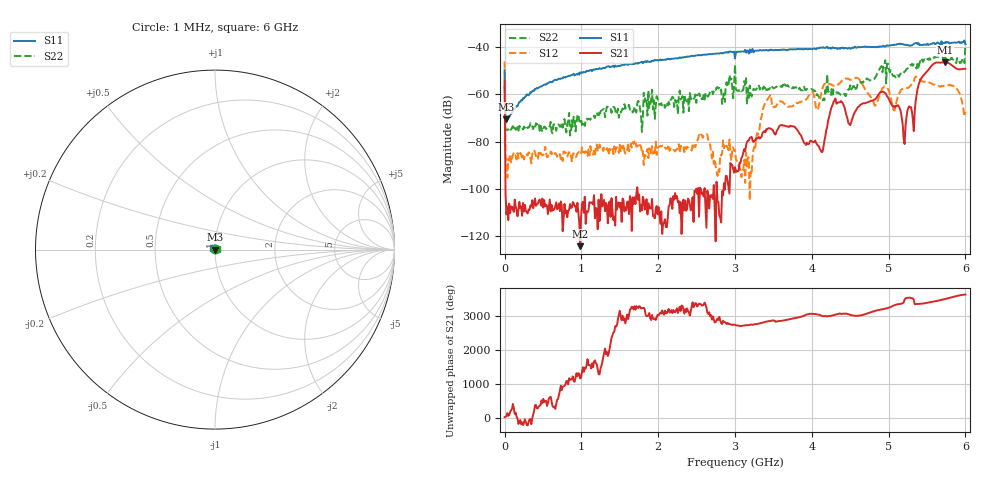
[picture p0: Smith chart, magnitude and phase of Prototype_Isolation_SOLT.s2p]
# GHZ S RI R 50
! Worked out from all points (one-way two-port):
!   501 points, 1 MHz to 6 GHz, reference 50 ohm
!   highest |S21| = -46.37 dB at 5.736 GHz (marker M1); lowest = -124.3 dB at 984.8 MHz (marker M2)
!   lowest |S11| = -70.6 dB at 25 MHz (marker M3), VSWR 1.00, Z = 50 - j0.00631 ohm
!   |S11| at or under -10 dB: start of sweep to end of sweep
!   |S22| runs from -77.4 to -38.7 dB; largest |S21 - S12| = 0.007
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0.001  -0.00167 0.00282  0.00194 0.000493  -0.00495 -0.000887  2.2e-05 0.00153
0.024996  0.00029 -6.31e-05  2.05e-06 2.01e-06  2.4e-05 -3.37e-05  -0.000172 -5.5e-06
0.036994  0.000274 -0.000129  -2.83e-06 3.16e-06  1.62e-05 -6.02e-06  -0.000181 4.76e-06
0.984836  -0.00064 -0.00287  9.35e-08 6.05e-07  2.03e-05 -5.56e-05  -0.000164 -0.000208
1.008832  -0.000638 -0.00288  5.59e-07 -4.95e-06  5.14e-05 -5.6e-05  -0.000105 -0.000199
2.004666  -0.00288 -0.00434  -3.34e-06 2.41e-06  6.14e-05 -4.69e-05  0.000128 -0.000647
3.0005  -0.00192 -0.0055  -2e-05 -2.09e-05  -2.5e-05 -6.22e-05  -0.00379 -0.00207
3.252458  -0.00688 -0.00479  -5.17e-05 -9.04e-05  5.29e-05 -5.72e-05  0.0012 0.000408
3.444426  -0.00725 -0.00483  0.000174 -8.43e-05  0.000719 -0.000514  0.00119 0.000464
4.008332  -0.00824 -0.00399  -9.73e-05 -1.79e-05  -0.00109 0.000252  0.00117 0.000504
4.08032  -0.00844 -0.00428  -8.08e-05 1.64e-05  -8.31e-05 -0.00047  0.000849 0.000429
4.152308  -0.0092 -0.00381  -4.08e-05 6.59e-05  -0.0004 -0.00149  0.000647 0.000502
4.296284  -0.00913 -0.00292  -0.000703 0.000271  -0.00135 -0.00073  0.00107 0.000678
4.50025  -0.00892 -0.00284  -0.000209 7.91e-05  -0.00202 -0.000247  0.0012 0.000993
4.824196  -0.01 -0.000129  0.000107 -0.000774  -0.000469 0.00033  0.00161 0.00162
5.004166  -0.0109 0.000231  0.000774 0.000183  4.44e-05 0.00118  0.0034 0.000802
5.076154  -0.0114 0.000454  4.33e-05 0.000567  0.00043 0.000148  0.00233 0.000891
5.208132  -0.0113 0.00126  -3.37e-05 -8.24e-05  0.00131 -0.000335  0.0028 0.00126
5.328112  -0.0116 0.0023  -5.4e-05 -0.000158  0.00152 0.00107  0.00363 0.00239
5.436094  -0.0107 0.00309  -0.00154 0.00174  0.000791 0.00173  0.00451 0.00317
5.736044  -0.0126 0.00236  0.000144 -0.0048  -0.00142 -0.000558  0.00361 0.00483
6  -0.00891 0.00745  0.00263 0.00232  0.000422 6.38e-05  0.0104 0.00507
